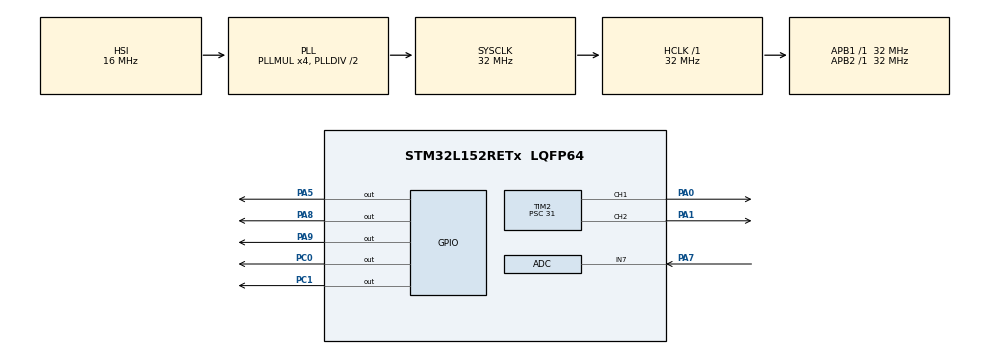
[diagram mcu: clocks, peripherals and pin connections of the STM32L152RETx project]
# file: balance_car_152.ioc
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ADC.Channel-0\#ChannelRegularConversion=ADC_CHANNEL_7
ADC.ContinuousConvMode=ENABLE
ADC.NbrOfConversionFlag=1
ADC.Rank-0\#ChannelRegularConversion=1
ADC.SamplingTime-0\#ChannelRegularConversion=ADC_SAMPLETIME_4CYCLES
Mcu.Family=STM32L1
Mcu.Name=STM32L152RETx
Mcu.Package=LQFP64
NVIC.PriorityGroup=NVIC_PRIORITYGROUP_4
PA0-WKUP1.Signal=S_TIM2_CH1_ETR
PA1.Signal=S_TIM2_CH2
PA13.Mode=Serial_Wire
PA13.Signal=SYS_JTMS-SWDIO
PA14.Mode=Serial_Wire
PA14.Signal=SYS_JTCK-SWCLK
PA5.Signal=GPIO_Output
PA7.Mode=IN7
PA7.Signal=ADC_IN7
PA8.Signal=GPIO_Output
PA9.Signal=GPIO_Output
PC0.Signal=GPIO_Output
PC1.Signal=GPIO_Output
ProjectManager.HeapSize=0x200
ProjectManager.StackSize=0x400
ProjectManager.TargetToolchain=STM32CubeIDE
RCC.48MHZClocksFreq_Value=32000000
RCC.AHBFreq_Value=32000000
RCC.APB1Freq_Value=32000000
RCC.APB1TimFreq_Value=32000000
RCC.APB2Freq_Value=32000000
RCC.APB2TimFreq_Value=32000000
RCC.HCLKFreq_Value=32000000
RCC.HSE_VALUE=24000000
RCC.HSI_VALUE=16000000
RCC.LSE_VALUE=32768
RCC.MSI_VALUE=2097000
RCC.PLLMUL=RCC_PLL_MUL4
RCC.SYSCLKFreq_VALUE=32000000
RCC.SYSCLKSource=RCC_SYSCLKSOURCE_PLLCLK
RCC.VCOOutputFreq_Value=64000000
SH.S_TIM2_CH1_ETR.0=TIM2_CH1,PWM Generation1 CH1
SH.S_TIM2_CH2.0=TIM2_CH2,PWM Generation2 CH2
TIM2.AutoReloadPreload=TIM_AUTORELOAD_PRELOAD_ENABLE
TIM2.Channel-PWM\ Generation1\ CH1=TIM_CHANNEL_1
TIM2.Channel-PWM\ Generation2\ CH2=TIM_CHANNEL_2
TIM2.OCMode_PWM-PWM\ Generation1\ CH1=TIM_OCMODE_PWM2
TIM2.OCMode_PWM-PWM\ Generation2\ CH2=TIM_OCMODE_PWM2
TIM2.Period=999
TIM2.Prescaler=31
TIM2.Pulse-PWM\ Generation2\ CH2=0
VP_TIM2_VS_ClockSourceINT.Mode=Internal
board=custom

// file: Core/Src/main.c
/* USER CODE BEGIN Header */
/**
  ******************************************************************************
  * @file           : main.c
  * @brief          : Main program body
  ******************************************************************************
  * @attention
  *
  * Copyright (c) 2024 STMicroelectronics.
  * All rights reserved.
  *
  * This software is licensed under terms that can be found in the LICENSE file
  * in the root directory of this software component.
  * If no LICENSE file comes with this software, it is provided AS-IS.
  *
  ******************************************************************************
  */
/* USER CODE END Header */
#include "main.h"

ADC_HandleTypeDef hadc;

TIM_HandleTypeDef htim2;

void SystemClock_Config(void);
static void MX_GPIO_Init(void);
static void MX_TIM2_Init(void);
static void MX_ADC_Init(void);

/* USER CODE BEGIN 0 */
void set_direction(uint8_t fw, uint8_t bk){
	//right
	HAL_GPIO_WritePin(GPIOA, GPIO_PIN_8, fw);
	HAL_GPIO_WritePin(GPIOA, GPIO_PIN_9, bk);

	//left
	HAL_GPIO_WritePin(GPIOC, GPIO_PIN_1, fw);
	HAL_GPIO_WritePin(GPIOC, GPIO_PIN_0, bk);
}

void setSpeed(uint16_t input_speed){
	TIM2->CCR2 = input_speed;
	TIM2->CCR2 = input_speed;
}

uint32_t readValue;
/* USER CODE END 0 */

int main(void)
{

  /* MCU Configuration--------------------------------------------------------*/

  /* Reset of all peripherals, Initializes the Flash interface and the Systick. */
  HAL_Init();

  /* Configure the system clock */
  SystemClock_Config();

  /* Initialize all configured peripherals */
  MX_GPIO_Init();
  MX_TIM2_Init();
  MX_ADC_Init();
  /* USER CODE BEGIN 2 */
  HAL_TIM_PWM_Start(&htim2, TIM_CHANNEL_2);
  HAL_TIM_PWM_Start(&htim2, TIM_CHANNEL_1);
  HAL_ADC_Start(&hadc);
  /* USER CODE END 2 */

  /* Infinite loop */
  while (1)
  {

    /* USER CODE BEGIN 3 */
	  	  	  HAL_ADC_PollForConversion(&hadc, 100);
	  	  	  readValue = HAL_ADC_GetValue(&hadc);

	  	  	  if (readValue<500){
	  			set_direction(1,0);
	  			setSpeed(50);
	  	  	  }
	  	  	  else if (readValue> 3000){
	  			  set_direction(0,1);
	  			setSpeed(50);
	  	  	  }
	  	  	  else set_direction(0,0);
	  		  HAL_Delay(100); // Delay for a while to see the brightness change

  }
  /* USER CODE END 3 */
}

void SystemClock_Config(void)
{
  RCC_OscInitTypeDef RCC_OscInitStruct = {0};
  RCC_ClkInitTypeDef RCC_ClkInitStruct = {0};

  /** Configure the main internal regulator output voltage
  */
  __HAL_PWR_VOLTAGESCALING_CONFIG(PWR_REGULATOR_VOLTAGE_SCALE1);

  /** Initializes the RCC Oscillators according to the specified parameters
  * in the RCC_OscInitTypeDef structure.
  */
  RCC_OscInitStruct.OscillatorType = RCC_OSCILLATORTYPE_HSI;
  RCC_OscInitStruct.HSIState = RCC_HSI_ON;
  RCC_OscInitStruct.HSICalibrationValue = RCC_HSICALIBRATION_DEFAULT;
  RCC_OscInitStruct.PLL.PLLState = RCC_PLL_ON;
  RCC_OscInitStruct.PLL.PLLSource = RCC_PLLSOURCE_HSI;
  RCC_OscInitStruct.PLL.PLLMUL = RCC_PLL_MUL4;
  RCC_OscInitStruct.PLL.PLLDIV = RCC_PLL_DIV2;
  if (HAL_RCC_OscConfig(&RCC_OscInitStruct) != HAL_OK)
  {
    Error_Handler();
  }

  /** Initializes the CPU, AHB and APB buses clocks
  */
  RCC_ClkInitStruct.ClockType = RCC_CLOCKTYPE_HCLK|RCC_CLOCKTYPE_SYSCLK
                              |RCC_CLOCKTYPE_PCLK1|RCC_CLOCKTYPE_PCLK2;
  RCC_ClkInitStruct.SYSCLKSource = RCC_SYSCLKSOURCE_PLLCLK;
  RCC_ClkInitStruct.AHBCLKDivider = RCC_SYSCLK_DIV1;
  RCC_ClkInitStruct.APB1CLKDivider = RCC_HCLK_DIV1;
  RCC_ClkInitStruct.APB2CLKDivider = RCC_HCLK_DIV1;

  if (HAL_RCC_ClockConfig(&RCC_ClkInitStruct, FLASH_LATENCY_1) != HAL_OK)
  {
    Error_Handler();
  }
}

static void MX_ADC_Init(void)
{

  ADC_ChannelConfTypeDef sConfig = {0};

  /** Configure the global features of the ADC (Clock, Resolution, Data Alignment and number of conversion)
  */
  hadc.Instance = ADC1;
  hadc.Init.ClockPrescaler = ADC_CLOCK_ASYNC_DIV1;
  hadc.Init.Resolution = ADC_RESOLUTION_12B;
  hadc.Init.DataAlign = ADC_DATAALIGN_RIGHT;
  hadc.Init.ScanConvMode = ADC_SCAN_DISABLE;
  hadc.Init.EOCSelection = ADC_EOC_SEQ_CONV;
  hadc.Init.LowPowerAutoWait = ADC_AUTOWAIT_DISABLE;
  hadc.Init.LowPowerAutoPowerOff = ADC_AUTOPOWEROFF_DISABLE;
  hadc.Init.ChannelsBank = ADC_CHANNELS_BANK_A;
  hadc.Init.ContinuousConvMode = ENABLE;
  hadc.Init.NbrOfConversion = 1;
  hadc.Init.DiscontinuousConvMode = DISABLE;
  hadc.Init.ExternalTrigConv = ADC_SOFTWARE_START;
  hadc.Init.ExternalTrigConvEdge = ADC_EXTERNALTRIGCONVEDGE_NONE;
  hadc.Init.DMAContinuousRequests = DISABLE;
  if (HAL_ADC_Init(&hadc) != HAL_OK)
  {
    Error_Handler();
  }

  /** Configure for the selected ADC regular channel its corresponding rank in the sequencer and its sample time.
  */
  sConfig.Channel = ADC_CHANNEL_7;
  sConfig.Rank = ADC_REGULAR_RANK_1;
  sConfig.SamplingTime = ADC_SAMPLETIME_4CYCLES;
  if (HAL_ADC_ConfigChannel(&hadc, &sConfig) != HAL_OK)
  {
    Error_Handler();
  }

}

static void MX_TIM2_Init(void)
{

  TIM_ClockConfigTypeDef sClockSourceConfig = {0};
  TIM_MasterConfigTypeDef sMasterConfig = {0};
  TIM_OC_InitTypeDef sConfigOC = {0};

  htim2.Instance = TIM2;
  htim2.Init.Prescaler = 31;
  htim2.Init.CounterMode = TIM_COUNTERMODE_UP;
  htim2.Init.Period = 999;
  htim2.Init.ClockDivision = TIM_CLOCKDIVISION_DIV1;
  htim2.Init.AutoReloadPreload = TIM_AUTORELOAD_PRELOAD_ENABLE;
  if (HAL_TIM_Base_Init(&htim2) != HAL_OK)
  {
    Error_Handler();
  }
  sClockSourceConfig.ClockSource = TIM_CLOCKSOURCE_INTERNAL;
  if (HAL_TIM_ConfigClockSource(&htim2, &sClockSourceConfig) != HAL_OK)
  {
    Error_Handler();
  }
  if (HAL_TIM_PWM_Init(&htim2) != HAL_OK)
  {
    Error_Handler();
  }
  sMasterConfig.MasterOutputTrigger = TIM_TRGO_RESET;
  sMasterConfig.MasterSlaveMode = TIM_MASTERSLAVEMODE_DISABLE;
  if (HAL_TIMEx_MasterConfigSynchronization(&htim2, &sMasterConfig) != HAL_OK)
  {
    Error_Handler();
  }
  sConfigOC.OCMode = TIM_OCMODE_PWM2;
  sConfigOC.Pulse = 0;
  sConfigOC.OCPolarity = TIM_OCPOLARITY_HIGH;
  sConfigOC.OCFastMode = TIM_OCFAST_DISABLE;
  if (HAL_TIM_PWM_ConfigChannel(&htim2, &sConfigOC, TIM_CHANNEL_1) != HAL_OK)
  {
    Error_Handler();
  }
  if (HAL_TIM_PWM_ConfigChannel(&htim2, &sConfigOC, TIM_CHANNEL_2) != HAL_OK)
  {
    Error_Handler();
  }
  HAL_TIM_MspPostInit(&htim2);

}

static void MX_GPIO_Init(void)
{
  GPIO_InitTypeDef GPIO_InitStruct = {0};

  /* GPIO Ports Clock Enable */
  __HAL_RCC_GPIOC_CLK_ENABLE();
  __HAL_RCC_GPIOA_CLK_ENABLE();

  /*Configure GPIO pin Output Level */
  HAL_GPIO_WritePin(GPIOC, GPIO_PIN_0|GPIO_PIN_1, GPIO_PIN_RESET);

  /*Configure GPIO pin Output Level */
  HAL_GPIO_WritePin(GPIOA, GPIO_PIN_5|GPIO_PIN_8|GPIO_PIN_9, GPIO_PIN_RESET);

  /*Configure GPIO pins : PC0 PC1 */
  GPIO_InitStruct.Pin = GPIO_PIN_0|GPIO_PIN_1;
  GPIO_InitStruct.Mode = GPIO_MODE_OUTPUT_PP;
  GPIO_InitStruct.Pull = GPIO_NOPULL;
  GPIO_InitStruct.Speed = GPIO_SPEED_FREQ_LOW;
  HAL_GPIO_Init(GPIOC, &GPIO_InitStruct);

  /*Configure GPIO pins : PA5 PA8 PA9 */
  GPIO_InitStruct.Pin = GPIO_PIN_5|GPIO_PIN_8|GPIO_PIN_9;
  GPIO_InitStruct.Mode = GPIO_MODE_OUTPUT_PP;
  GPIO_InitStruct.Pull = GPIO_NOPULL;
  GPIO_InitStruct.Speed = GPIO_SPEED_FREQ_LOW;
  HAL_GPIO_Init(GPIOA, &GPIO_InitStruct);

}

void Error_Handler(void)
{
  __disable_irq();
  while (1)
  {
  }
}
